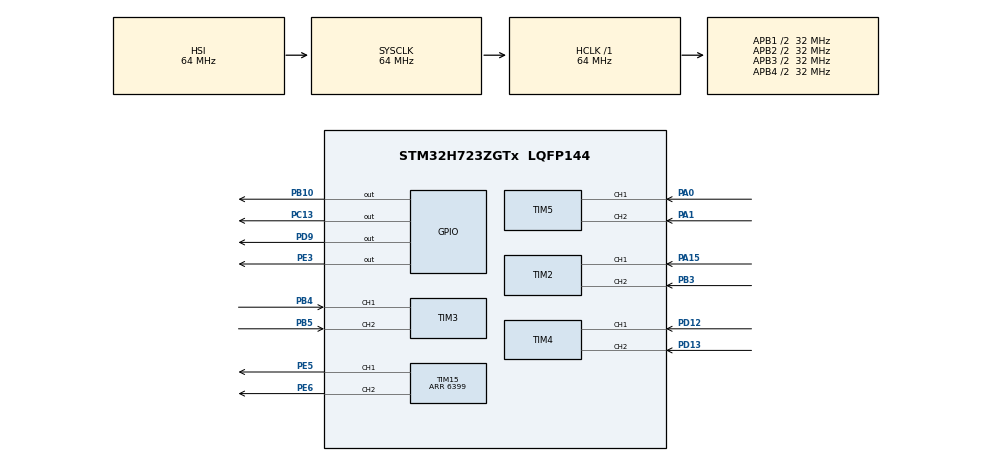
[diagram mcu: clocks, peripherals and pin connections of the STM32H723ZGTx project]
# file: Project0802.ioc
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Mcu.Family=STM32H7
Mcu.Name=STM32H723ZGTx
Mcu.Package=LQFP144
NVIC.PriorityGroup=NVIC_PRIORITYGROUP_4
NVIC.TIM15_IRQn=true\:0\:0\:false\:false\:true\:true\:true\:true
NVIC.TIM2_IRQn=true\:0\:0\:false\:false\:true\:true\:true\:true
NVIC.TIM3_IRQn=true\:0\:0\:false\:false\:true\:true\:true\:true
NVIC.TIM4_IRQn=true\:0\:0\:false\:false\:true\:true\:true\:true
NVIC.TIM5_IRQn=true\:0\:0\:false\:false\:true\:true\:true\:true
NVIC.TIM6_DAC_IRQn=true\:0\:0\:false\:false\:true\:true\:true\:true
PA0.Signal=S_TIM5_CH1
PA1.Signal=S_TIM5_CH2
PA15(JTDI).Signal=S_TIM2_CH1_ETR
PB10.Signal=GPIO_Output
PB3(JTDO/TRACESWO).Signal=S_TIM2_CH2
PB4(NJTRST).Signal=S_TIM3_CH1
PB5.Signal=S_TIM3_CH2
PC13.Signal=GPIO_Output
PD12.Signal=S_TIM4_CH1
PD13.Signal=S_TIM4_CH2
PD9.Signal=GPIO_Output
PE3.Signal=GPIO_Output
PE5.Signal=S_TIM15_CH1
PE6.Signal=S_TIM15_CH2
ProjectManager.HeapSize=0x200
ProjectManager.StackSize=0x400
ProjectManager.TargetToolchain=STM32CubeIDE
RCC.ADCFreq_Value=129000000
RCC.APB1Freq_Value=32000000
RCC.APB2Freq_Value=32000000
RCC.APB3Freq_Value=32000000
RCC.APB4Freq_Value=32000000
RCC.CortexFreq_Value=64000000
RCC.D1PPRE=RCC_APB3_DIV2
RCC.D2PPRE1=RCC_APB1_DIV2
RCC.D2PPRE2=RCC_APB2_DIV2
RCC.D3PPRE=RCC_APB4_DIV2
RCC.HCLKFreq_Value=64000000
RCC.SYSCLKFreq_VALUE=64000000
RCC.USBFreq_Value=129000000
SH.S_TIM15_CH1.0=TIM15_CH1,PWM Generation1 CH1
SH.S_TIM15_CH2.0=TIM15_CH2,PWM Generation2 CH2
SH.S_TIM2_CH1_ETR.0=TIM2_CH1,Encoder_Interface
SH.S_TIM2_CH2.0=TIM2_CH2,Encoder_Interface
SH.S_TIM3_CH1.0=TIM3_CH1,Encoder_Interface
SH.S_TIM3_CH2.0=TIM3_CH2,Encoder_Interface
SH.S_TIM4_CH1.0=TIM4_CH1,Encoder_Interface
SH.S_TIM4_CH2.0=TIM4_CH2,Encoder_Interface
SH.S_TIM5_CH1.0=TIM5_CH1,Encoder_Interface
SH.S_TIM5_CH2.0=TIM5_CH2,Encoder_Interface
TIM15.Channel-PWM\ Generation1\ CH1=TIM_CHANNEL_1
TIM15.Channel-PWM\ Generation2\ CH2=TIM_CHANNEL_2
TIM15.Period=6399
TIM6.Period=999
TIM6.Prescaler=127
VP_TIM6_VS_ClockSourceINT.Mode=Enable_Timer
board=custom

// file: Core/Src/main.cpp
/* USER CODE BEGIN Header */
/**
  ******************************************************************************
  * @file           : main.c
  * @brief          : Main program body
  ******************************************************************************
  * @attention
  *
  * Copyright (c) 2024 STMicroelectronics.
  * All rights reserved.
  *
  * This software is licensed under terms that can be found in the LICENSE file
  * in the root directory of this software component.
  * If no LICENSE file comes with this software, it is provided AS-IS.
  *
  ******************************************************************************
  */
/* USER CODE END Header */
#include "main.h"

#include "diff_chassis.h"
/* USER CODE BEGIN Includes */
#include "motor_controller.h"
/* USER CODE END Includes */

TIM_HandleTypeDef htim2;
TIM_HandleTypeDef htim3;
TIM_HandleTypeDef htim4;
TIM_HandleTypeDef htim5;
TIM_HandleTypeDef htim6;
TIM_HandleTypeDef htim15;

/* USER CODE BEGIN PV */
DiffChassis diff(0, 1);

float dt = 0.001;
int16_t encoder_count = 0;
int pulse = 0;
int t = 0;
float kp[4] = {2.5, 2.5, 6.8, 6.8}; // motor1:left motor2:right
float ki[4] = {100, 100, 228, 228};
float temp_dis[4];
CAR_INFO car_goal;
CAR_INFO info;
CAR_INFO location;
MOTOR_V motor_goal;
MOTOR_V measured_speed;
/* USER CODE END PV */

void SystemClock_Config(void);
static void MX_GPIO_Init(void);
static void MX_TIM4_Init(void);
static void MX_TIM5_Init(void);
static void MX_TIM15_Init(void);
static void MX_TIM3_Init(void);
static void MX_TIM6_Init(void);
static void MX_TIM2_Init(void);

int main(void)
{

  /* MCU Configuration--------------------------------------------------------*/

  /* Reset of all peripherals, Initializes the Flash interface and the Systick. */
  HAL_Init();

  /* Configure the system clock */
  SystemClock_Config();

  /* Initialize all configured peripherals */
  MX_GPIO_Init();
  MX_TIM4_Init();
  MX_TIM5_Init();
  MX_TIM15_Init();
  MX_TIM3_Init();
  MX_TIM6_Init();
  MX_TIM2_Init();
  /* USER CODE BEGIN 2 */
  HAL_TIM_PWM_Start(&htim15, TIM_CHANNEL_1); // motor 1
  HAL_TIM_PWM_Start(&htim15, TIM_CHANNEL_2); // motor 2
  HAL_TIM_Encoder_Start(&htim4, TIM_CHANNEL_ALL); // encoder 1
  HAL_TIM_Encoder_Start(&htim5, TIM_CHANNEL_ALL); // encoder 2
  HAL_TIM_Encoder_Start(&htim3, TIM_CHANNEL_ALL); // encoder 2
  HAL_TIM_Encoder_Start(&htim2, TIM_CHANNEL_ALL); // encoder 2
  HAL_TIM_Base_Start_IT(&htim6); // timer interrupt

  dt = 0.001;
  t = 1;
	car_goal.Vx = -0.2;
	car_goal.Vy = 0;
	car_goal.Omega = 0;
  /* USER CODE END 2 */

  /* Infinite loop */
  while (1)
  {

    /* USER CODE BEGIN 3 */

//
//	  HAL_Delay(static_cast<uint32_t>(dt * 1000));
//	  HAL_GPIO_WritePin(GPIOE, GPIO_PIN_3, GPIO_PIN_SET);
//	  __HAL_TIM_SET_COMPARE(&htim15, TIM_CHANNEL_1, pulse);
  }
  /* USER CODE END 3 */
}

void SystemClock_Config(void)
{
  RCC_OscInitTypeDef RCC_OscInitStruct = {0};
  RCC_ClkInitTypeDef RCC_ClkInitStruct = {0};

  /** Supply configuration update enable
  */
  HAL_PWREx_ConfigSupply(PWR_LDO_SUPPLY);

  /** Configure the main internal regulator output voltage
  */
  __HAL_PWR_VOLTAGESCALING_CONFIG(PWR_REGULATOR_VOLTAGE_SCALE3);

  while(!__HAL_PWR_GET_FLAG(PWR_FLAG_VOSRDY)) {}

  /** Initializes the RCC Oscillators according to the specified parameters
  * in the RCC_OscInitTypeDef structure.
  */
  RCC_OscInitStruct.OscillatorType = RCC_OSCILLATORTYPE_HSI;
  RCC_OscInitStruct.HSIState = RCC_HSI_DIV1;
  RCC_OscInitStruct.HSICalibrationValue = RCC_HSICALIBRATION_DEFAULT;
  RCC_OscInitStruct.PLL.PLLState = RCC_PLL_NONE;
  if (HAL_RCC_OscConfig(&RCC_OscInitStruct) != HAL_OK)
  {
    Error_Handler();
  }

  /** Initializes the CPU, AHB and APB buses clocks
  */
  RCC_ClkInitStruct.ClockType = RCC_CLOCKTYPE_HCLK|RCC_CLOCKTYPE_SYSCLK
                              |RCC_CLOCKTYPE_PCLK1|RCC_CLOCKTYPE_PCLK2
                              |RCC_CLOCKTYPE_D3PCLK1|RCC_CLOCKTYPE_D1PCLK1;
  RCC_ClkInitStruct.SYSCLKSource = RCC_SYSCLKSOURCE_HSI;
  RCC_ClkInitStruct.SYSCLKDivider = RCC_SYSCLK_DIV1;
  RCC_ClkInitStruct.AHBCLKDivider = RCC_HCLK_DIV1;
  RCC_ClkInitStruct.APB3CLKDivider = RCC_APB3_DIV2;
  RCC_ClkInitStruct.APB1CLKDivider = RCC_APB1_DIV2;
  RCC_ClkInitStruct.APB2CLKDivider = RCC_APB2_DIV2;
  RCC_ClkInitStruct.APB4CLKDivider = RCC_APB4_DIV2;

  if (HAL_RCC_ClockConfig(&RCC_ClkInitStruct, FLASH_LATENCY_1) != HAL_OK)
  {
    Error_Handler();
  }
}

static void MX_TIM2_Init(void)
{

  TIM_Encoder_InitTypeDef sConfig = {0};
  TIM_MasterConfigTypeDef sMasterConfig = {0};

  htim2.Instance = TIM2;
  htim2.Init.Prescaler = 0;
  htim2.Init.CounterMode = TIM_COUNTERMODE_UP;
  htim2.Init.Period = 4294967295;
  htim2.Init.ClockDivision = TIM_CLOCKDIVISION_DIV1;
  htim2.Init.AutoReloadPreload = TIM_AUTORELOAD_PRELOAD_DISABLE;
  sConfig.EncoderMode = TIM_ENCODERMODE_TI1;
  sConfig.IC1Polarity = TIM_ICPOLARITY_RISING;
  sConfig.IC1Selection = TIM_ICSELECTION_DIRECTTI;
  sConfig.IC1Prescaler = TIM_ICPSC_DIV1;
  sConfig.IC1Filter = 0;
  sConfig.IC2Polarity = TIM_ICPOLARITY_RISING;
  sConfig.IC2Selection = TIM_ICSELECTION_DIRECTTI;
  sConfig.IC2Prescaler = TIM_ICPSC_DIV1;
  sConfig.IC2Filter = 0;
  if (HAL_TIM_Encoder_Init(&htim2, &sConfig) != HAL_OK)
  {
    Error_Handler();
  }
  sMasterConfig.MasterOutputTrigger = TIM_TRGO_RESET;
  sMasterConfig.MasterSlaveMode = TIM_MASTERSLAVEMODE_DISABLE;
  if (HAL_TIMEx_MasterConfigSynchronization(&htim2, &sMasterConfig) != HAL_OK)
  {
    Error_Handler();
  }

}

static void MX_TIM3_Init(void)
{

  TIM_Encoder_InitTypeDef sConfig = {0};
  TIM_MasterConfigTypeDef sMasterConfig = {0};

  htim3.Instance = TIM3;
  htim3.Init.Prescaler = 0;
  htim3.Init.CounterMode = TIM_COUNTERMODE_UP;
  htim3.Init.Period = 65535;
  htim3.Init.ClockDivision = TIM_CLOCKDIVISION_DIV1;
  htim3.Init.AutoReloadPreload = TIM_AUTORELOAD_PRELOAD_DISABLE;
  sConfig.EncoderMode = TIM_ENCODERMODE_TI1;
  sConfig.IC1Polarity = TIM_ICPOLARITY_RISING;
  sConfig.IC1Selection = TIM_ICSELECTION_DIRECTTI;
  sConfig.IC1Prescaler = TIM_ICPSC_DIV1;
  sConfig.IC1Filter = 0;
  sConfig.IC2Polarity = TIM_ICPOLARITY_RISING;
  sConfig.IC2Selection = TIM_ICSELECTION_DIRECTTI;
  sConfig.IC2Prescaler = TIM_ICPSC_DIV1;
  sConfig.IC2Filter = 0;
  if (HAL_TIM_Encoder_Init(&htim3, &sConfig) != HAL_OK)
  {
    Error_Handler();
  }
  sMasterConfig.MasterOutputTrigger = TIM_TRGO_RESET;
  sMasterConfig.MasterSlaveMode = TIM_MASTERSLAVEMODE_DISABLE;
  if (HAL_TIMEx_MasterConfigSynchronization(&htim3, &sMasterConfig) != HAL_OK)
  {
    Error_Handler();
  }

}

static void MX_TIM4_Init(void)
{

  TIM_Encoder_InitTypeDef sConfig = {0};
  TIM_MasterConfigTypeDef sMasterConfig = {0};

  htim4.Instance = TIM4;
  htim4.Init.Prescaler = 0;
  htim4.Init.CounterMode = TIM_COUNTERMODE_UP;
  htim4.Init.Period = 65535;
  htim4.Init.ClockDivision = TIM_CLOCKDIVISION_DIV1;
  htim4.Init.AutoReloadPreload = TIM_AUTORELOAD_PRELOAD_DISABLE;
  sConfig.EncoderMode = TIM_ENCODERMODE_TI1;
  sConfig.IC1Polarity = TIM_ICPOLARITY_RISING;
  sConfig.IC1Selection = TIM_ICSELECTION_DIRECTTI;
  sConfig.IC1Prescaler = TIM_ICPSC_DIV1;
  sConfig.IC1Filter = 0;
  sConfig.IC2Polarity = TIM_ICPOLARITY_RISING;
  sConfig.IC2Selection = TIM_ICSELECTION_DIRECTTI;
  sConfig.IC2Prescaler = TIM_ICPSC_DIV1;
  sConfig.IC2Filter = 0;
  if (HAL_TIM_Encoder_Init(&htim4, &sConfig) != HAL_OK)
  {
    Error_Handler();
  }
  sMasterConfig.MasterOutputTrigger = TIM_TRGO_RESET;
  sMasterConfig.MasterSlaveMode = TIM_MASTERSLAVEMODE_DISABLE;
  if (HAL_TIMEx_MasterConfigSynchronization(&htim4, &sMasterConfig) != HAL_OK)
  {
    Error_Handler();
  }

}

static void MX_TIM5_Init(void)
{

  TIM_Encoder_InitTypeDef sConfig = {0};
  TIM_MasterConfigTypeDef sMasterConfig = {0};

  htim5.Instance = TIM5;
  htim5.Init.Prescaler = 0;
  htim5.Init.CounterMode = TIM_COUNTERMODE_UP;
  htim5.Init.Period = 4294967295;
  htim5.Init.ClockDivision = TIM_CLOCKDIVISION_DIV1;
  htim5.Init.AutoReloadPreload = TIM_AUTORELOAD_PRELOAD_DISABLE;
  sConfig.EncoderMode = TIM_ENCODERMODE_TI1;
  sConfig.IC1Polarity = TIM_ICPOLARITY_RISING;
  sConfig.IC1Selection = TIM_ICSELECTION_DIRECTTI;
  sConfig.IC1Prescaler = TIM_ICPSC_DIV1;
  sConfig.IC1Filter = 0;
  sConfig.IC2Polarity = TIM_ICPOLARITY_RISING;
  sConfig.IC2Selection = TIM_ICSELECTION_DIRECTTI;
  sConfig.IC2Prescaler = TIM_ICPSC_DIV1;
  sConfig.IC2Filter = 0;
  if (HAL_TIM_Encoder_Init(&htim5, &sConfig) != HAL_OK)
  {
    Error_Handler();
  }
  sMasterConfig.MasterOutputTrigger = TIM_TRGO_RESET;
  sMasterConfig.MasterSlaveMode = TIM_MASTERSLAVEMODE_DISABLE;
  if (HAL_TIMEx_MasterConfigSynchronization(&htim5, &sMasterConfig) != HAL_OK)
  {
    Error_Handler();
  }

}

static void MX_TIM6_Init(void)
{

  TIM_MasterConfigTypeDef sMasterConfig = {0};

  htim6.Instance = TIM6;
  htim6.Init.Prescaler = 127;
  htim6.Init.CounterMode = TIM_COUNTERMODE_UP;
  htim6.Init.Period = 999;
  htim6.Init.AutoReloadPreload = TIM_AUTORELOAD_PRELOAD_DISABLE;
  if (HAL_TIM_Base_Init(&htim6) != HAL_OK)
  {
    Error_Handler();
  }
  sMasterConfig.MasterOutputTrigger = TIM_TRGO_RESET;
  sMasterConfig.MasterSlaveMode = TIM_MASTERSLAVEMODE_DISABLE;
  if (HAL_TIMEx_MasterConfigSynchronization(&htim6, &sMasterConfig) != HAL_OK)
  {
    Error_Handler();
  }

}

static void MX_TIM15_Init(void)
{

  TIM_MasterConfigTypeDef sMasterConfig = {0};
  TIM_OC_InitTypeDef sConfigOC = {0};
  TIM_BreakDeadTimeConfigTypeDef sBreakDeadTimeConfig = {0};

  htim15.Instance = TIM15;
  htim15.Init.Prescaler = 0;
  htim15.Init.CounterMode = TIM_COUNTERMODE_UP;
  htim15.Init.Period = 6399;
  htim15.Init.ClockDivision = TIM_CLOCKDIVISION_DIV1;
  htim15.Init.RepetitionCounter = 0;
  htim15.Init.AutoReloadPreload = TIM_AUTORELOAD_PRELOAD_DISABLE;
  if (HAL_TIM_PWM_Init(&htim15) != HAL_OK)
  {
    Error_Handler();
  }
  sMasterConfig.MasterOutputTrigger = TIM_TRGO_RESET;
  sMasterConfig.MasterSlaveMode = TIM_MASTERSLAVEMODE_DISABLE;
  if (HAL_TIMEx_MasterConfigSynchronization(&htim15, &sMasterConfig) != HAL_OK)
  {
    Error_Handler();
  }
  sConfigOC.OCMode = TIM_OCMODE_PWM1;
  sConfigOC.Pulse = 0;
  sConfigOC.OCPolarity = TIM_OCPOLARITY_HIGH;
  sConfigOC.OCNPolarity = TIM_OCNPOLARITY_HIGH;
  sConfigOC.OCFastMode = TIM_OCFAST_DISABLE;
  sConfigOC.OCIdleState = TIM_OCIDLESTATE_RESET;
  sConfigOC.OCNIdleState = TIM_OCNIDLESTATE_RESET;
  if (HAL_TIM_PWM_ConfigChannel(&htim15, &sConfigOC, TIM_CHANNEL_1) != HAL_OK)
  {
    Error_Handler();
  }
  if (HAL_TIM_PWM_ConfigChannel(&htim15, &sConfigOC, TIM_CHANNEL_2) != HAL_OK)
  {
    Error_Handler();
  }
  sBreakDeadTimeConfig.OffStateRunMode = TIM_OSSR_DISABLE;
  sBreakDeadTimeConfig.OffStateIDLEMode = TIM_OSSI_DISABLE;
  sBreakDeadTimeConfig.LockLevel = TIM_LOCKLEVEL_OFF;
  sBreakDeadTimeConfig.DeadTime = 0;
  sBreakDeadTimeConfig.BreakState = TIM_BREAK_DISABLE;
  sBreakDeadTimeConfig.BreakPolarity = TIM_BREAKPOLARITY_HIGH;
  sBreakDeadTimeConfig.BreakFilter = 0;
  sBreakDeadTimeConfig.AutomaticOutput = TIM_AUTOMATICOUTPUT_DISABLE;
  if (HAL_TIMEx_ConfigBreakDeadTime(&htim15, &sBreakDeadTimeConfig) != HAL_OK)
  {
    Error_Handler();
  }
  HAL_TIM_MspPostInit(&htim15);

}

static void MX_GPIO_Init(void)
{
  GPIO_InitTypeDef GPIO_InitStruct = {0};

  /* GPIO Ports Clock Enable */
  __HAL_RCC_GPIOE_CLK_ENABLE();
  __HAL_RCC_GPIOC_CLK_ENABLE();
  __HAL_RCC_GPIOA_CLK_ENABLE();
  __HAL_RCC_GPIOB_CLK_ENABLE();
  __HAL_RCC_GPIOD_CLK_ENABLE();

  /*Configure GPIO pin Output Level */
  HAL_GPIO_WritePin(GPIOE, GPIO_PIN_3, GPIO_PIN_RESET);

  /*Configure GPIO pin Output Level */
  HAL_GPIO_WritePin(GPIOC, GPIO_PIN_13, GPIO_PIN_RESET);

  /*Configure GPIO pin Output Level */
  HAL_GPIO_WritePin(GPIOB, GPIO_PIN_10, GPIO_PIN_RESET);

  /*Configure GPIO pin Output Level */
  HAL_GPIO_WritePin(GPIOD, GPIO_PIN_9, GPIO_PIN_RESET);

  /*Configure GPIO pin : PE3 */
  GPIO_InitStruct.Pin = GPIO_PIN_3;
  GPIO_InitStruct.Mode = GPIO_MODE_OUTPUT_PP;
  GPIO_InitStruct.Pull = GPIO_NOPULL;
  GPIO_InitStruct.Speed = GPIO_SPEED_FREQ_LOW;
  HAL_GPIO_Init(GPIOE, &GPIO_InitStruct);

  /*Configure GPIO pin : PC13 */
  GPIO_InitStruct.Pin = GPIO_PIN_13;
  GPIO_InitStruct.Mode = GPIO_MODE_OUTPUT_PP;
  GPIO_InitStruct.Pull = GPIO_NOPULL;
  GPIO_InitStruct.Speed = GPIO_SPEED_FREQ_LOW;
  HAL_GPIO_Init(GPIOC, &GPIO_InitStruct);

  /*Configure GPIO pin : PB10 */
  GPIO_InitStruct.Pin = GPIO_PIN_10;
  GPIO_InitStruct.Mode = GPIO_MODE_OUTPUT_PP;
  GPIO_InitStruct.Pull = GPIO_NOPULL;
  GPIO_InitStruct.Speed = GPIO_SPEED_FREQ_LOW;
  HAL_GPIO_Init(GPIOB, &GPIO_InitStruct);

  /*Configure GPIO pin : PD9 */
  GPIO_InitStruct.Pin = GPIO_PIN_9;
  GPIO_InitStruct.Mode = GPIO_MODE_OUTPUT_PP;
  GPIO_InitStruct.Pull = GPIO_NOPULL;
  GPIO_InitStruct.Speed = GPIO_SPEED_FREQ_LOW;
  HAL_GPIO_Init(GPIOD, &GPIO_InitStruct);

}

/* USER CODE BEGIN 4 */
void HAL_TIM_PeriodElapsedCallback(TIM_HandleTypeDef *htim)
{
	if (htim->Instance == TIM6) {
		t += 1;
		MotorController motor1(0, &htim15, TIM_CHANNEL_1, &htim5, GPIOE, GPIO_PIN_3, kp[0], ki[0], 1, -1); // motor1 is left motor
		MotorController motor2(1, &htim15, TIM_CHANNEL_2, &htim2, GPIOC, GPIO_PIN_13, kp[1], ki[1], 1, -1); // motor2 is right motor

		// Give global Vx, Vy, Omega Speed
		motor_goal = diff.Set_GoalCarInfo(car_goal);
		motor1.SetSpeed(motor_goal.V1);
		motor2.SetSpeed(motor_goal.V2);

		// update and get now car info
		diff.Update_NowCarInfo(motor1.Update(dt), motor2.Update(dt));
		info = diff.Get_NowCarInfo();
		measured_speed = diff.Get_NowMotorV();
//		measured_speed[0] = motor1.Update(dt);
//
//
//		measured_speed[1] = motor2.Update(dt);

		// update and get now car location
		diff.Update_NowCarLocation(motor1.MoveDistance(), motor2.MoveDistance());
		location = diff.Get_NowCarLocation();
//
//		temp_dis[0] = motor1.MoveDistance();
//		temp_dis[1] = motor2.MoveDistance();

	}
//		if (motor1_signal != pre_motor_signal) {
//			pre_motor_signal = motor1_signal;
//		}
//	}
}
/* USER CODE END 4 */

void Error_Handler(void)
{
  __disable_irq();
  while (1)
  {
  }
}
